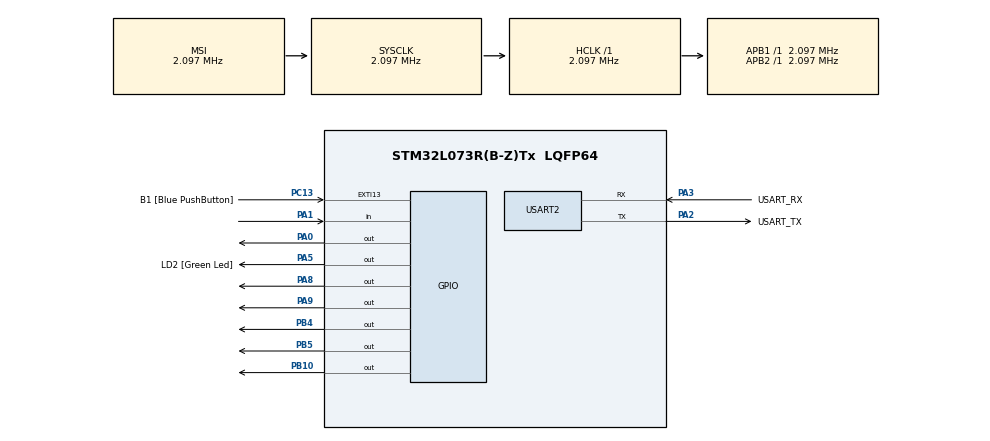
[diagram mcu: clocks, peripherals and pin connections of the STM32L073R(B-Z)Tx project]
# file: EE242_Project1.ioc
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Mcu.Family=STM32L0
Mcu.Name=STM32L073R(B-Z)Tx
Mcu.Package=LQFP64
PA0.Signal=GPIO_Output
PA1.Signal=GPIO_Input
PA13.GPIO_Label=TMS
PA13.Mode=Serial_Wire
PA13.Signal=SYS_SWDIO
PA14.GPIO_Label=TCK
PA14.Mode=Serial_Wire
PA14.Signal=SYS_SWCLK
PA2.GPIO_Label=USART_TX
PA2.Mode=Asynchronous
PA2.Signal=USART2_TX
PA3.GPIO_Label=USART_RX
PA3.Mode=Asynchronous
PA3.Signal=USART2_RX
PA5.GPIO_Label=LD2 [Green Led]
PA5.Signal=GPIO_Output
PA8.Signal=GPIO_Output
PA9.Signal=GPIO_Output
PB10.Signal=GPIO_Output
PB4.Signal=GPIO_Output
PB5.Signal=GPIO_Output
PC13.GPIO_Label=B1 [Blue PushButton]
PC13.GPIO_ModeDefaultEXTI=GPIO_MODE_IT_FALLING
PC13.Signal=GPXTI13
PC14-OSC32_IN.Mode=LSE-External-Oscillator
PC14-OSC32_IN.Signal=RCC_OSC32_IN
PC15-OSC32_OUT.Mode=LSE-External-Oscillator
PC15-OSC32_OUT.Signal=RCC_OSC32_OUT
PH0-OSC_IN.GPIO_Label=MCO
PH0-OSC_IN.Mode=HSE-External-Clock-Source
PH0-OSC_IN.Signal=RCC_OSC_IN
ProjectManager.HeapSize=0x200
ProjectManager.StackSize=0x400
ProjectManager.TargetToolchain=STM32CubeIDE
RCC.AHBFreq_Value=2097000
RCC.APB1Freq_Value=2097000
RCC.APB1TimFreq_Value=2097000
RCC.APB2Freq_Value=2097000
RCC.APB2TimFreq_Value=2097000
RCC.HSE_VALUE=8000000
RCC.HSI16_VALUE=16000000
RCC.HSI48_VALUE=48000000
RCC.HSI_VALUE=16000000
RCC.MSI_VALUE=2097000
RCC.SYSCLKFreq_VALUE=2097000
RCC.VCOOutputFreq_Value=48000000
TIM2.Prescaler=15
USART2.VirtualMode-Asynchronous=VM_ASYNC
VP_TIM2_VS_ClockSourceINT.Mode=Internal
board=NUCLEO-L073RZ

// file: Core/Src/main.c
/* USER CODE BEGIN Header */
/**
  ******************************************************************************
  * @file           : main.c
  * @brief          : Main program body
  ******************************************************************************
  * @attention
  *
  * Copyright (c) 2025 STMicroelectronics.
  * All rights reserved.
  *
  * This software is licensed under terms that can be found in the LICENSE file
  * in the root directory of this software component.
  * If no LICENSE file comes with this software, it is provided AS-IS.
  *
  ******************************************************************************
  */
/* USER CODE END Header */
#include "main.h"

/* USER CODE BEGIN Includes */
#include <stdio.h>
/* USER CODE END Includes */

TIM_HandleTypeDef htim2;

UART_HandleTypeDef huart2;

/* USER CODE BEGIN PV */
extern TIM_HandleTypeDef htim2;
extern UART_HandleTypeDef huart2;

#define TRIG_PORT       GPIOA
#define TRIG_PIN        GPIO_PIN_0
#define ECHO_PORT       GPIOA
#define ECHO_PIN        GPIO_PIN_1

#define RED_LED_PORT    GPIOA
#define RED_LED_PIN     GPIO_PIN_8
#define GREEN_LED_PORT  GPIOB
#define GREEN_LED_PIN   GPIO_PIN_5
#define BUZZER_PORT     GPIOA
#define BUZZER_PIN      GPIO_PIN_9

#define TIMEOUT_US      25000U

static inline void trig_high(void) {HAL_GPIO_WritePin(TRIG_PORT,TRIG_PIN,GPIO_PIN_SET);}
static inline void trig_low(void) {HAL_GPIO_WritePin(TRIG_PORT,TRIG_PIN,GPIO_PIN_RESET);}
/* USER CODE END PV */

void SystemClock_Config(void);
static void MX_GPIO_Init(void);
static void MX_USART2_UART_Init(void);
static void MX_TIM2_Init(void);
/* USER CODE BEGIN PFP */
void delay_us(uint16_t us);
uint32_t readUltrasonicDistance(void);
int __io_putchar(int ch);
/* USER CODE END PFP */

/* USER CODE BEGIN 0 */
void delay_us(uint16_t us) {
    __HAL_TIM_SET_COUNTER(&htim2, 0);
    while (__HAL_TIM_GET_COUNTER(&htim2) < us);
}

uint32_t readUltrasonicDistance(void) {
    uint32_t start = 0, stop = 0, duration = 0, timeout = 0;

    trig_low(); delay_us(2);
    trig_high(); delay_us(10);
    trig_low();

    while (HAL_GPIO_ReadPin(ECHO_PORT, ECHO_PIN) == GPIO_PIN_RESET) {
        if (++timeout > TIMEOUT_US) return 0xFFFFFFFF;
    }
    start = __HAL_TIM_GET_COUNTER(&htim2);

    timeout = 0;
    while (HAL_GPIO_ReadPin(ECHO_PORT, ECHO_PIN) == GPIO_PIN_SET) {
        if (++timeout > TIMEOUT_US) return 0xFFFFFFFE;
    }
    stop = __HAL_TIM_GET_COUNTER(&htim2);

    duration = (stop >= start) ? (stop - start) : (0xFFFF - start + stop);
    return (duration * 343) / 20000;
}

int __io_putchar(int ch){
	HAL_UART_Transmit(&huart2, (uint8_t *)&ch,1,HAL_MAX_DELAY);
	return ch;
}
/* USER CODE END 0 */

int main(void)
{

  /* MCU Configuration--------------------------------------------------------*/

  /* Reset of all peripherals, Initializes the Flash interface and the Systick. */
  HAL_Init();

  /* Configure the system clock */
  SystemClock_Config();

  /* Initialize all configured peripherals */
  MX_GPIO_Init();
  MX_USART2_UART_Init();
  MX_TIM2_Init();
  /* USER CODE BEGIN 2 */
  HAL_TIM_Base_Start(&htim2);  // Timer2 başlatılıyor
  /* USER CODE END 2 */

  /* Infinite loop */
  while (1)
  {
	  uint32_t distance =readUltrasonicDistance();
	  	      printf("Distance: %lu cm\r\n", distance);

	  	      if (distance > 50) {
	  	          HAL_GPIO_WritePin(GREEN_LED_PORT, GREEN_LED_PIN, GPIO_PIN_RESET);
	  	          HAL_GPIO_WritePin(RED_LED_PORT, RED_LED_PIN, GPIO_PIN_SET);
	  	          HAL_GPIO_WritePin(BUZZER_PORT, BUZZER_PIN, GPIO_PIN_SET);
	  	      } else if (distance <= 20) {
	  	          HAL_GPIO_WritePin(GREEN_LED_PORT, GREEN_LED_PIN, GPIO_PIN_SET);
	  	          HAL_GPIO_WritePin(RED_LED_PORT, RED_LED_PIN, GPIO_PIN_RESET);
	  	          HAL_GPIO_WritePin(BUZZER_PORT, BUZZER_PIN, GPIO_PIN_RESET);
	  	      } else {
	  	          HAL_GPIO_WritePin(GREEN_LED_PORT, GREEN_LED_PIN, GPIO_PIN_SET);
	  	          HAL_GPIO_WritePin(RED_LED_PORT, RED_LED_PIN, GPIO_PIN_RESET);
	  	          HAL_GPIO_WritePin(BUZZER_PORT, BUZZER_PIN, GPIO_PIN_SET);
	  	      }

	  	      HAL_Delay(300);
  }
}

void SystemClock_Config(void)
{
  RCC_OscInitTypeDef RCC_OscInitStruct = {0};
  RCC_ClkInitTypeDef RCC_ClkInitStruct = {0};
  RCC_PeriphCLKInitTypeDef PeriphClkInit = {0};

  /** Configure the main internal regulator output voltage
  */
  __HAL_PWR_VOLTAGESCALING_CONFIG(PWR_REGULATOR_VOLTAGE_SCALE1);

  /** Initializes the RCC Oscillators according to the specified parameters
  * in the RCC_OscInitTypeDef structure.
  */
  RCC_OscInitStruct.OscillatorType = RCC_OSCILLATORTYPE_MSI;
  RCC_OscInitStruct.MSIState = RCC_MSI_ON;
  RCC_OscInitStruct.MSICalibrationValue = 0;
  RCC_OscInitStruct.MSIClockRange = RCC_MSIRANGE_5;
  RCC_OscInitStruct.PLL.PLLState = RCC_PLL_NONE;
  if (HAL_RCC_OscConfig(&RCC_OscInitStruct) != HAL_OK)
  {
    Error_Handler();
  }

  /** Initializes the CPU, AHB and APB buses clocks
  */
  RCC_ClkInitStruct.ClockType = RCC_CLOCKTYPE_HCLK|RCC_CLOCKTYPE_SYSCLK
                              |RCC_CLOCKTYPE_PCLK1|RCC_CLOCKTYPE_PCLK2;
  RCC_ClkInitStruct.SYSCLKSource = RCC_SYSCLKSOURCE_MSI;
  RCC_ClkInitStruct.AHBCLKDivider = RCC_SYSCLK_DIV1;
  RCC_ClkInitStruct.APB1CLKDivider = RCC_HCLK_DIV1;
  RCC_ClkInitStruct.APB2CLKDivider = RCC_HCLK_DIV1;

  if (HAL_RCC_ClockConfig(&RCC_ClkInitStruct, FLASH_LATENCY_0) != HAL_OK)
  {
    Error_Handler();
  }
  PeriphClkInit.PeriphClockSelection = RCC_PERIPHCLK_USART2;
  PeriphClkInit.Usart2ClockSelection = RCC_USART2CLKSOURCE_PCLK1;
  if (HAL_RCCEx_PeriphCLKConfig(&PeriphClkInit) != HAL_OK)
  {
    Error_Handler();
  }
}

static void MX_TIM2_Init(void)
{

  TIM_ClockConfigTypeDef sClockSourceConfig = {0};
  TIM_MasterConfigTypeDef sMasterConfig = {0};

  htim2.Instance = TIM2;
  htim2.Init.Prescaler = 15;
  htim2.Init.CounterMode = TIM_COUNTERMODE_UP;
  htim2.Init.Period = 65535;
  htim2.Init.ClockDivision = TIM_CLOCKDIVISION_DIV1;
  htim2.Init.AutoReloadPreload = TIM_AUTORELOAD_PRELOAD_DISABLE;
  if (HAL_TIM_Base_Init(&htim2) != HAL_OK)
  {
    Error_Handler();
  }
  sClockSourceConfig.ClockSource = TIM_CLOCKSOURCE_INTERNAL;
  if (HAL_TIM_ConfigClockSource(&htim2, &sClockSourceConfig) != HAL_OK)
  {
    Error_Handler();
  }
  sMasterConfig.MasterOutputTrigger = TIM_TRGO_RESET;
  sMasterConfig.MasterSlaveMode = TIM_MASTERSLAVEMODE_DISABLE;
  if (HAL_TIMEx_MasterConfigSynchronization(&htim2, &sMasterConfig) != HAL_OK)
  {
    Error_Handler();
  }

}

static void MX_USART2_UART_Init(void)
{

  huart2.Instance = USART2;
  huart2.Init.BaudRate = 115200;
  huart2.Init.WordLength = UART_WORDLENGTH_8B;
  huart2.Init.StopBits = UART_STOPBITS_1;
  huart2.Init.Parity = UART_PARITY_NONE;
  huart2.Init.Mode = UART_MODE_TX_RX;
  huart2.Init.HwFlowCtl = UART_HWCONTROL_NONE;
  huart2.Init.OverSampling = UART_OVERSAMPLING_16;
  huart2.Init.OneBitSampling = UART_ONE_BIT_SAMPLE_DISABLE;
  huart2.AdvancedInit.AdvFeatureInit = UART_ADVFEATURE_NO_INIT;
  if (HAL_UART_Init(&huart2) != HAL_OK)
  {
    Error_Handler();
  }

}

static void MX_GPIO_Init(void)
{
  GPIO_InitTypeDef GPIO_InitStruct = {0};

  /* GPIO Ports Clock Enable */
  __HAL_RCC_GPIOC_CLK_ENABLE();
  __HAL_RCC_GPIOH_CLK_ENABLE();
  __HAL_RCC_GPIOA_CLK_ENABLE();
  __HAL_RCC_GPIOB_CLK_ENABLE();

  /*Configure GPIO pin Output Level */
  HAL_GPIO_WritePin(GPIOA, GPIO_PIN_0|LD2_Pin|GPIO_PIN_8|GPIO_PIN_9, GPIO_PIN_RESET);

  /*Configure GPIO pin Output Level */
  HAL_GPIO_WritePin(GPIOB, GPIO_PIN_10|GPIO_PIN_4|GPIO_PIN_5, GPIO_PIN_RESET);

  /*Configure GPIO pin : B1_Pin */
  GPIO_InitStruct.Pin = B1_Pin;
  GPIO_InitStruct.Mode = GPIO_MODE_IT_FALLING;
  GPIO_InitStruct.Pull = GPIO_NOPULL;
  HAL_GPIO_Init(B1_GPIO_Port, &GPIO_InitStruct);

  /*Configure GPIO pins : PA0 LD2_Pin PA8 PA9 */
  GPIO_InitStruct.Pin = GPIO_PIN_0|LD2_Pin|GPIO_PIN_8|GPIO_PIN_9;
  GPIO_InitStruct.Mode = GPIO_MODE_OUTPUT_PP;
  GPIO_InitStruct.Pull = GPIO_NOPULL;
  GPIO_InitStruct.Speed = GPIO_SPEED_FREQ_LOW;
  HAL_GPIO_Init(GPIOA, &GPIO_InitStruct);

  /*Configure GPIO pin : PA1 */
  GPIO_InitStruct.Pin = GPIO_PIN_1;
  GPIO_InitStruct.Mode = GPIO_MODE_INPUT;
  GPIO_InitStruct.Pull = GPIO_NOPULL;
  HAL_GPIO_Init(GPIOA, &GPIO_InitStruct);

  /*Configure GPIO pins : PB10 PB4 PB5 */
  GPIO_InitStruct.Pin = GPIO_PIN_10|GPIO_PIN_4|GPIO_PIN_5;
  GPIO_InitStruct.Mode = GPIO_MODE_OUTPUT_PP;
  GPIO_InitStruct.Pull = GPIO_NOPULL;
  GPIO_InitStruct.Speed = GPIO_SPEED_FREQ_LOW;
  HAL_GPIO_Init(GPIOB, &GPIO_InitStruct);

}

void Error_Handler(void)
{
  __disable_irq();
  while (1)
  {
  }
}
